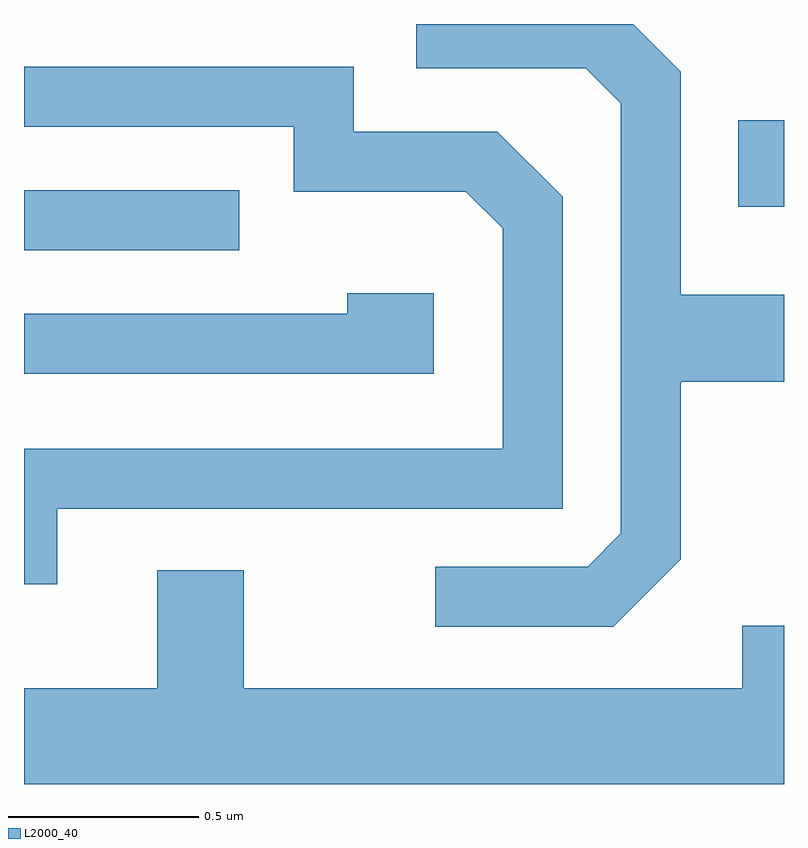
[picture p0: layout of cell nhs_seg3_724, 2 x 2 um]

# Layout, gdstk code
import gdstk
lib = gdstk.Library(unit=1e-6, precision=1e-09)
def R(c, l, rs):  # rectangles x0, y0, x1, y1
    for r in rs: c.add(gdstk.rectangle(r[:2], r[2:], *l))
def P(c, l, *ps):  # polygons
    for p in ps: c.add(gdstk.Polygon(p, *l))
L2000_40 = (2000, 40)

nhs_seg3_724 = lib.new_cell('nhs_seg3_724')
R(nhs_seg3_724, L2000_40, [(190.611,1156.296,191.178,1156.454), (192.491,1156.411,192.611,1156.639)])
P(nhs_seg3_724, L2000_40, [(192.339,1155.484),(192.339,1155.951),(192.611,1155.951),(192.611,1156.179),(192.339,1156.179),(192.339,1156.767),(192.214,1156.892),(191.643,1156.892),(191.643,1156.776),(192.089,1156.776),(192.181,1156.684),(192.181,1155.552),(192.094,1155.464),(191.693,1155.464),(191.693,1155.306),(192.162,1155.306)],
  [(190.699,1155.616),(192.029,1155.616),(192.029,1156.437),(191.857,1156.609),(191.479,1156.609),(191.479,1156.779),(190.611,1156.779),(190.611,1156.621),(191.321,1156.621),(191.321,1156.451),(191.774,1156.451),(191.871,1156.354),(191.871,1155.774),(190.611,1155.774),(190.611,1155.418),(190.699,1155.418)],
  [(191.689,1156.184),(191.461,1156.184),(191.461,1156.129),(190.611,1156.129),(190.611,1155.971),(191.689,1155.971)],
  [(192.611,1155.309),(192.501,1155.309),(192.501,1155.144),(191.189,1155.144),(191.189,1155.454),(190.961,1155.454),(190.961,1155.144),(190.611,1155.144),(190.611,1154.892),(192.611,1154.892)])

lib.write_gds('nhs_seg3_724.gds')
